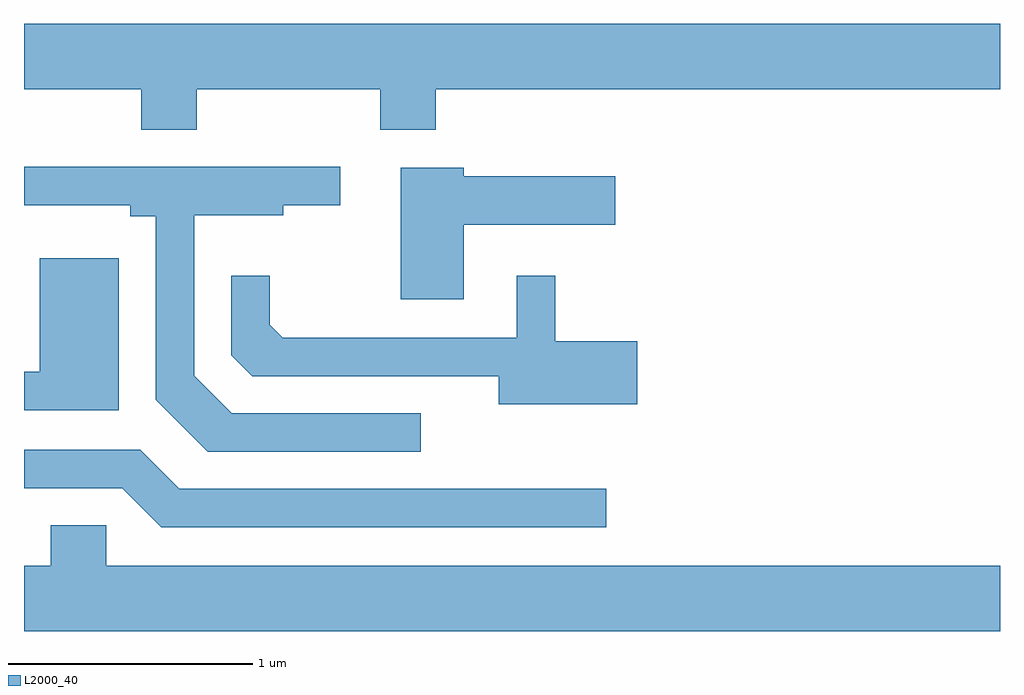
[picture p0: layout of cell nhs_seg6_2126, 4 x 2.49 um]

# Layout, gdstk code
import gdstk
lib = gdstk.Library(unit=1e-6, precision=1e-09)
def P(c, l, *ps):  # polygons
    for p in ps: c.add(gdstk.Polygon(p, *l))
L2000_40 = (2000, 40)

nhs_seg6_2126 = lib.new_cell('nhs_seg6_2126')
P(nhs_seg6_2126, L2000_40, [(250.319,1596.656),(251.071,1596.656),(251.071,1596.491),(251.299,1596.491),(251.299,1596.656),(253.611,1596.656),(253.611,1596.924),(249.611,1596.924),(249.611,1596.656),(250.091,1596.656),(250.091,1596.491),(250.319,1596.491)],
  [(251.238,1595.329),(250.462,1595.329),(250.309,1595.482),(250.309,1596.141),(250.674,1596.141),(250.674,1596.181),(250.908,1596.181),(250.908,1596.339),(249.611,1596.339),(249.611,1596.181),(250.046,1596.181),(250.046,1596.136),(250.151,1596.136),(250.151,1595.384),(250.364,1595.171),(251.238,1595.171)],
  [(251.414,1596.101),(252.034,1596.101),(252.034,1596.299),(251.414,1596.299),(251.414,1596.334),(251.156,1596.334),(251.156,1595.796),(251.414,1595.796)],
  [(249.999,1595.964),(249.676,1595.964),(249.676,1595.499),(249.611,1595.499),(249.611,1595.341),(249.999,1595.341)],
  [(252.124,1595.624),(251.789,1595.624),(251.789,1595.893),(251.631,1595.893),(251.631,1595.639),(250.672,1595.639),(250.619,1595.692),(250.619,1595.893),(250.461,1595.893),(250.461,1595.567),(250.547,1595.481),(251.556,1595.481),(251.556,1595.366),(252.124,1595.366)],
  [(251.998,1595.019),(250.247,1595.019),(250.087,1595.179),(249.611,1595.179),(249.611,1595.021),(250.014,1595.021),(250.174,1594.861),(251.998,1594.861)],
  [(253.611,1594.704),(249.949,1594.704),(249.949,1594.869),(249.721,1594.869),(249.721,1594.704),(249.611,1594.704),(249.611,1594.436),(253.611,1594.436)])

lib.write_gds('nhs_seg6_2126.gds')
